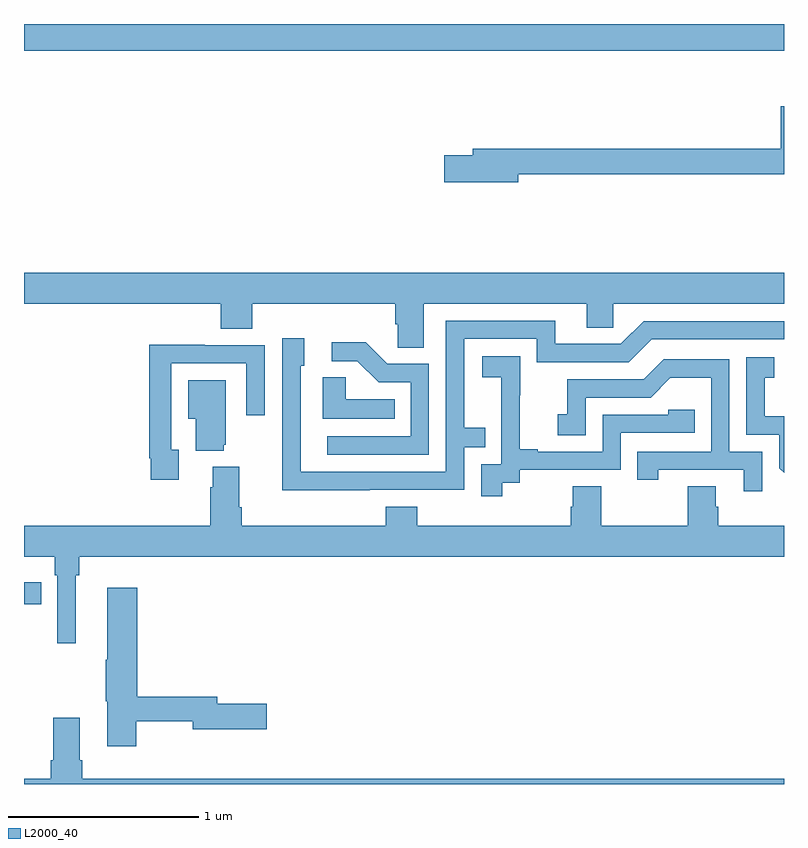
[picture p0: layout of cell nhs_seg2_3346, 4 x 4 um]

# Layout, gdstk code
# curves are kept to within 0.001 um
import gdstk
lib = gdstk.Library(unit=1e-6, precision=1e-09)
def R(c, l, rs):  # rectangles x0, y0, x1, y1
    for r in rs: c.add(gdstk.rectangle(r[:2], r[2:], *l))
def P(c, l, *ps):  # polygons
    for p in ps: c.add(gdstk.Polygon(p, *l))
L2000_40 = (2000, 40)

nhs_seg2_3346 = lib.new_cell('nhs_seg2_3346')
R(nhs_seg2_3346, L2000_40, [(287,620.746,287.09,620.862), (287,623.66,291,623.8)])
P(nhs_seg2_3346, L2000_40, [(289.6,623.008),(291,623.008),(291,623.368),(290.984,623.368),(290.984,623.144),(289.361,623.144),(289.361,623.108),(289.212,623.108),(289.212,622.966),(289.6,622.966)],
  [(289.105,622.328),(289.961,622.328),(289.961,622.201),(290.1,622.201),(290.1,622.328),(291,622.328),(291,622.492),(287,622.492),(287,622.328),(288.035,622.328),(288.035,622.195),(288.2,622.195),(288.2,622.328),(288.953,622.328),(288.953,622.219),(288.966,622.219),(288.966,622.096),(289.105,622.096)],
  [(288.821,621.348),(289.317,621.348),(289.317,621.573),(289.427,621.573),(289.427,621.674),(289.317,621.674),(289.317,622.143),(289.698,622.143),(289.698,622.02),(290.184,622.02),(290.304,622.14),(291,622.14),(291,622.236),(290.262,622.236),(290.142,622.116),(289.795,622.116),(289.795,622.239),(289.221,622.239),(289.221,621.444),(288.456,621.444),(288.456,622.002),(288.475,622.002),(288.475,622.147),(288.36,622.147),(288.36,621.653),(288.358,621.653),(288.358,621.347)],
  [(289.131,622.011),(288.912,622.011),(288.799,622.124),(288.621,622.124),(288.621,622.026),(288.755,622.026),(288.866,621.915),(289.035,621.915),(289.035,621.63),(288.597,621.63),(288.597,621.534),(289.131,621.534)],
  [(287.815,621.558),(287.775,621.558),(287.775,622.014),(288.171,622.014),(288.171,621.741),(288.267,621.741),(288.267,622.11),(287.951,622.11),(287.951,622.112),(287.659,622.112),(287.659,621.514),(287.667,621.514),(287.667,621.402),(287.815,621.402)],
  [(289.516,621.385),(289.608,621.385),(289.608,621.453),(290.142,621.453),(290.142,621.648),(290.531,621.648),(290.531,621.771),(290.391,621.771),(290.391,621.744),(290.046,621.744),(290.046,621.549),(289.705,621.549),(289.705,621.562),(289.61,621.562),(289.61,621.845),(289.611,621.845),(289.611,622.051),(289.413,622.051),(289.413,621.941),(289.511,621.941),(289.511,621.713),(289.512,621.713),(289.512,621.483),(289.407,621.483),(289.407,621.315),(289.516,621.315)],
  [(291,621.735),(290.899,621.735),(290.899,621.939),(290.948,621.939),(290.948,622.045),(290.802,622.045),(290.802,621.639),(290.976,621.639),(290.976,621.462),(291,621.438)],
  [(290.886,621.549),(290.712,621.549),(290.712,622.035),(290.366,622.035),(290.261,621.93),(289.858,621.93),(289.858,621.745),(289.809,621.745),(289.809,621.636),(289.956,621.636),(289.956,621.834),(290.298,621.834),(290.402,621.938),(290.616,621.938),(290.616,621.549),(290.227,621.549),(290.227,621.402),(290.338,621.402),(290.338,621.453),(290.789,621.453),(290.789,621.342),(290.886,621.342)],
  [(288.95,621.826),(288.693,621.826),(288.693,621.941),(288.572,621.941),(288.572,621.722),(288.95,621.722)],
  [(288.05,621.585),(288.061,621.585),(288.061,621.925),(287.864,621.925),(287.864,621.722),(287.903,621.722),(287.903,621.554),(288.05,621.554)],
  [(287.272,620.9),(287.291,620.9),(287.291,620.996),(291,620.996),(291,621.16),(290.654,621.16),(290.654,621.258),(290.641,621.258),(290.641,621.368),(290.494,621.368),(290.494,621.16),(290.037,621.16),(290.037,621.368),(289.889,621.368),(289.889,621.258),(289.877,621.258),(289.877,621.16),(289.07,621.16),(289.07,621.259),(288.905,621.259),(288.905,621.16),(288.146,621.16),(288.146,621.256),(288.133,621.256),(288.133,621.469),(287.993,621.469),(287.993,621.362),(287.981,621.362),(287.981,621.16),(287,621.16),(287,620.996),(287.162,620.996),(287.162,620.9),(287.175,620.9),(287.175,620.541),(287.272,620.541)],
  [(287.592,620.13),(287.888,620.13),(287.888,620.087),(288.277,620.087),(288.277,620.222),(288.016,620.222),(288.016,620.258),(287.597,620.258),(287.597,620.833),(287.438,620.833),(287.438,620.453),(287.431,620.453),(287.431,620.235),(287.438,620.235),(287.438,619.998),(287.592,619.998)],
  [(291,619.828),(287.306,619.828),(287.306,619.924),(287.293,619.924),(287.293,620.149),(287.153,620.149),(287.153,619.924),(287.141,619.924),(287.141,619.828),(287,619.828),(287,619.8),(291,619.8)])

lib.write_gds('nhs_seg2_3346.gds')
